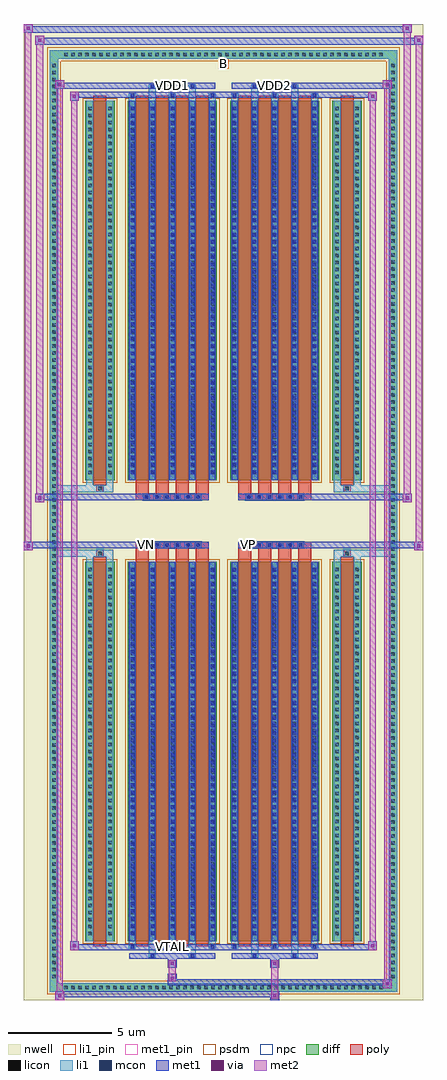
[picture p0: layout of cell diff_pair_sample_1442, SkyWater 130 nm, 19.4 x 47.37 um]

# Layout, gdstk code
import gdstk
lib = gdstk.Library(unit=1e-6, precision=5e-09)
def R(c, l, rs):  # rectangles x0, y0, x1, y1
    for r in rs: c.add(gdstk.rectangle(r[:2], r[2:], *l))
def A(c, l, x, y, w, h, nx, ny, dx, dy):  # array of equal rectangles
    R(c, l, [(x+i*dx, y+j*dy, x+i*dx+w, y+j*dy+h) for i in range(nx) for j in range(ny)])
def P(c, l, *ps):  # polygons
    for p in ps: c.add(gdstk.Polygon(p, *l))
nwell = (64, 20)
diff = (65, 20)
poly = (66, 20)
licon = (66, 44)
li1_pin = (67, 16)
li1 = (67, 20)
mcon = (67, 44)
met1_pin = (68, 16)
met1 = (68, 20)
via = (68, 44)
met2 = (69, 20)
psdm = (94, 20)
npc = (95, 20)

diff_pair_sample_1442 = lib.new_cell('diff_pair_sample_1442')
R(diff_pair_sample_1442, nwell, [(-9.7,-23.25,9.7,24.12), (-7.02,-21.44,-0.01,-0.8), (0.01,-21.44,7.02,-0.8), (-7.02,0.8,-0.01,21.44), (0.01,0.8,7.02,21.44)])
A(diff_pair_sample_1442, diff, -7.855, -22.85, 0.41, 0.41, 46, 2, 0.34, 45.29)
A(diff_pair_sample_1442, diff, -8.43, -22.305, 0.41, 0.41, 1, 131, 0, 0.34)
A(diff_pair_sample_1442, diff, 8.02, -22.305, 0.41, 0.41, 1, 131, 0, 0.34)
R(diff_pair_sample_1442, diff, [(-7.855,-22.85,7.855,-22.44), (-8.43,-22.305,-8.02,22.305), (8.02,-22.305,8.43,22.305), (-6.71,-20.395,-5.29,-1.985), (-4.65,-20.395,-0.32,-1.985), (0.32,-20.395,4.65,-1.985), (5.29,-20.395,6.71,-1.985), (-6.71,1.985,-5.29,20.395), (-4.65,1.985,-0.32,20.395), (0.32,1.985,4.65,20.395), (5.29,1.985,6.71,20.395), (-7.855,22.44,7.855,22.85)])
P(diff_pair_sample_1442, diff, [(8.43,22.85),(-8.43,22.85),(-8.43,-22.44),(-8.02,-22.44),(-8.02,22.44),(8.02,22.44),(8.02,-22.44),(-8.02,-22.44),(-8.43,-22.44),(-8.43,-22.85),(8.43,-22.85)])
A(diff_pair_sample_1442, poly, -4.26, -20.645, 0.64, 18.91, 4, 2, 0.97, 22.38)
A(diff_pair_sample_1442, poly, 0.71, -20.645, 0.64, 18.91, 4, 2, 0.97, 22.38)
A(diff_pair_sample_1442, poly, -4.26, -1.735, 0.64, 0.405, 4, 2, 0.97, 3.065)
A(diff_pair_sample_1442, poly, 0.71, -1.735, 0.64, 0.405, 4, 2, 0.97, 3.065)
A(diff_pair_sample_1442, poly, -3.9, -1.33, 0.33, 0.33, 6, 2, 0.5, 2.33)
A(diff_pair_sample_1442, poly, 1.07, -1.33, 0.33, 0.33, 6, 2, 0.5, 2.33)
R(diff_pair_sample_1442, poly, [(-6.32,-20.645,-5.68,-1.735), (5.68,-20.645,6.32,-1.735), (-6.165,-1.735,-5.835,-1.405), (-6.165,-1.735,-5.835,-1.405), (5.835,-1.735,6.165,-1.405), (5.835,-1.735,6.165,-1.405), (-4.26,-1.33,-0.71,-1), (0.71,-1.33,4.26,-1), (-4.26,1,-0.71,1.33), (0.71,1,4.26,1.33), (-6.165,1.405,-5.835,1.735), (-6.165,1.405,-5.835,1.735), (5.835,1.405,6.165,1.735), (5.835,1.405,6.165,1.735), (-6.32,1.735,-5.68,20.645), (5.68,1.735,6.32,20.645)])
A(diff_pair_sample_1442, licon, -7.735, -22.73, 0.17, 0.17, 46, 2, 0.34, 45.29)
A(diff_pair_sample_1442, licon, -8.31, -22.185, 0.17, 0.17, 1, 131, 0, 0.34)
A(diff_pair_sample_1442, licon, 8.14, -22.185, 0.17, 0.17, 1, 131, 0, 0.34)
A(diff_pair_sample_1442, licon, -6.57, -20.115, 0.17, 0.17, 1, 53, 0, 0.34)
A(diff_pair_sample_1442, licon, -5.6, -20.115, 0.17, 0.17, 1, 53, 0, 0.34)
A(diff_pair_sample_1442, licon, -4.51, -20.115, 0.17, 0.17, 5, 53, 0.97, 0.34)
A(diff_pair_sample_1442, licon, 0.46, -20.115, 0.17, 0.17, 5, 53, 0.97, 0.34)
A(diff_pair_sample_1442, licon, 5.43, -20.115, 0.17, 0.17, 1, 53, 0, 0.34)
A(diff_pair_sample_1442, licon, 6.4, -20.115, 0.17, 0.17, 1, 53, 0, 0.34)
A(diff_pair_sample_1442, licon, -3.82, -1.25, 0.17, 0.17, 6, 2, 0.5, 2.33)
A(diff_pair_sample_1442, licon, 1.15, -1.25, 0.17, 0.17, 6, 2, 0.5, 2.33)
A(diff_pair_sample_1442, licon, -6.57, 2.265, 0.17, 0.17, 1, 53, 0, 0.34)
A(diff_pair_sample_1442, licon, -5.6, 2.265, 0.17, 0.17, 1, 53, 0, 0.34)
A(diff_pair_sample_1442, licon, -4.51, 2.265, 0.17, 0.17, 5, 53, 0.97, 0.34)
A(diff_pair_sample_1442, licon, 0.46, 2.265, 0.17, 0.17, 5, 53, 0.97, 0.34)
A(diff_pair_sample_1442, licon, 5.43, 2.265, 0.17, 0.17, 1, 53, 0, 0.34)
A(diff_pair_sample_1442, licon, 6.4, 2.265, 0.17, 0.17, 1, 53, 0, 0.34)
R(diff_pair_sample_1442, licon, [(-6.085,-1.655,-5.915,-1.485), (5.915,-1.655,6.085,-1.485), (-6.085,1.485,-5.915,1.655), (5.915,1.485,6.085,1.655)])
R(diff_pair_sample_1442, li1_pin, [(-0.25,21.94,0.25,22.44)])
A(diff_pair_sample_1442, li1, -7.815, -22.81, 0.33, 0.33, 46, 2, 0.34, 45.29)
A(diff_pair_sample_1442, li1, -8.39, -22.265, 0.33, 0.33, 1, 131, 0, 0.34)
A(diff_pair_sample_1442, li1, 8.06, -22.265, 0.33, 0.33, 1, 131, 0, 0.34)
A(diff_pair_sample_1442, li1, -4.59, -20.77, 0.33, 0.375, 3, 2, 1.94, 41.165)
A(diff_pair_sample_1442, li1, -4.51, -20.77, 0.17, 0.17, 3, 2, 1.94, 41.37)
A(diff_pair_sample_1442, li1, 0.38, -20.77, 0.33, 0.375, 3, 2, 1.94, 41.165)
A(diff_pair_sample_1442, li1, 0.46, -20.77, 0.17, 0.17, 3, 2, 1.94, 41.37)
A(diff_pair_sample_1442, li1, -4.59, -20.395, 0.33, 18.41, 5, 2, 0.97, 22.38)
A(diff_pair_sample_1442, li1, 0.38, -20.395, 0.33, 18.41, 5, 2, 0.97, 22.38)
A(diff_pair_sample_1442, li1, -6.65, -20.195, 0.33, 0.33, 1, 53, 0, 0.34)
A(diff_pair_sample_1442, li1, -5.68, -20.195, 0.33, 0.33, 1, 53, 0, 0.34)
A(diff_pair_sample_1442, li1, -4.59, -20.195, 0.33, 0.33, 5, 53, 0.97, 0.34)
A(diff_pair_sample_1442, li1, 0.38, -20.195, 0.33, 0.33, 5, 53, 0.97, 0.34)
A(diff_pair_sample_1442, li1, 5.35, -20.195, 0.33, 0.33, 1, 53, 0, 0.34)
A(diff_pair_sample_1442, li1, 6.32, -20.195, 0.33, 0.33, 1, 53, 0, 0.34)
A(diff_pair_sample_1442, li1, -4.51, -20.095, 0.17, 0.17, 5, 50, 0.97, 0.36)
A(diff_pair_sample_1442, li1, -4.51, -20.095, 0.17, 17.81, 5, 2, 0.97, 22.38)
A(diff_pair_sample_1442, li1, 0.46, -20.095, 0.17, 0.17, 5, 50, 0.97, 0.36)
A(diff_pair_sample_1442, li1, 0.46, -20.095, 0.17, 17.81, 5, 2, 0.97, 22.38)
A(diff_pair_sample_1442, li1, -3.9, -1.33, 0.33, 0.33, 6, 2, 0.5, 2.33)
A(diff_pair_sample_1442, li1, 1.07, -1.33, 0.33, 0.33, 6, 2, 0.5, 2.33)
A(diff_pair_sample_1442, li1, -6.65, 2.185, 0.33, 0.33, 1, 53, 0, 0.34)
A(diff_pair_sample_1442, li1, -5.68, 2.185, 0.33, 0.33, 1, 53, 0, 0.34)
A(diff_pair_sample_1442, li1, -4.59, 2.185, 0.33, 0.33, 5, 53, 0.97, 0.34)
A(diff_pair_sample_1442, li1, 0.38, 2.185, 0.33, 0.33, 5, 53, 0.97, 0.34)
A(diff_pair_sample_1442, li1, 5.35, 2.185, 0.33, 0.33, 1, 53, 0, 0.34)
A(diff_pair_sample_1442, li1, 6.32, 2.185, 0.33, 0.33, 1, 53, 0, 0.34)
A(diff_pair_sample_1442, li1, -4.51, 2.285, 0.17, 0.17, 5, 50, 0.97, 0.36)
A(diff_pair_sample_1442, li1, 0.46, 2.285, 0.17, 0.17, 5, 50, 0.97, 0.36)
R(diff_pair_sample_1442, li1, [(-8.43,-22.85,-8.02,-22.44), (-8.43,-22.85,-8.02,-22.44), (-8.02,-22.85,8.02,-22.44), (8.02,-22.85,8.43,-22.44), (8.02,-22.85,8.43,-22.44), (-8.43,-22.44,-8.02,22.44), (8.02,-22.44,8.43,22.44), (-3.62,-21.2,-3.29,-20.395), (-3.54,-21.2,-3.37,-21.03), (-1.68,-21.2,-1.35,-20.395), (-1.6,-21.2,-1.43,-21.03), (1.35,-21.2,1.68,-20.395), (1.43,-21.2,1.6,-21.03), (3.29,-21.2,3.62,-20.395), (3.37,-21.2,3.54,-21.03), (-6.65,-20.395,-6.32,-1.985), (-5.68,-20.395,-5.35,-1.985), (5.35,-20.395,5.68,-1.985), (6.32,-20.395,6.65,-1.985), (-6.65,-1.985,-6.32,-1.405), (-5.68,-1.985,-5.35,-1.405), (5.35,-1.985,5.68,-1.405), (6.32,-1.985,6.65,-1.405), (-8.43,-1.735,-6.165,-1.405), (-6.65,-1.735,-6.165,-1.405), (-6.165,-1.735,-5.835,-1.405), (-5.835,-1.735,-5.35,-1.405), (5.35,-1.735,5.835,-1.405), (5.835,-1.735,6.165,-1.405), (5.835,-1.735,8.43,-1.405), (6.165,-1.735,6.65,-1.405), (-8.43,1.405,-6.165,1.735), (-6.65,1.405,-6.165,1.735), (-6.65,1.405,-6.32,1.985), (-6.165,1.405,-5.835,1.735), (-5.835,1.405,-5.35,1.735), (-5.68,1.405,-5.35,1.985), (5.35,1.405,5.835,1.735), (5.35,1.405,5.68,1.985), (5.835,1.405,6.165,1.735), (5.835,1.405,8.43,1.735), (6.165,1.405,6.65,1.735), (6.32,1.405,6.65,1.985), (-6.65,1.985,-6.32,20.395), (-5.68,1.985,-5.35,20.395), (5.35,1.985,5.68,20.395), (6.32,1.985,6.65,20.395), (-3.62,20.395,-3.29,21.2), (-1.68,20.395,-1.35,21.2), (1.35,20.395,1.68,21.2), (3.29,20.395,3.62,21.2), (-3.54,21.03,-3.37,21.2), (-1.6,21.03,-1.43,21.2), (1.43,21.03,1.6,21.2), (3.37,21.03,3.54,21.2), (-8.43,22.44,-8.02,22.85), (-8.43,22.44,-8.02,22.85), (-8.02,22.44,8.02,22.85), (8.02,22.44,8.43,22.85), (8.02,22.44,8.43,22.85)])
A(diff_pair_sample_1442, mcon, -4.51, -20.77, 0.17, 0.17, 3, 2, 1.94, 41.37)
A(diff_pair_sample_1442, mcon, 0.46, -20.77, 0.17, 0.17, 3, 2, 1.94, 41.37)
A(diff_pair_sample_1442, mcon, -4.51, -20.095, 0.17, 0.17, 5, 50, 0.97, 0.36)
A(diff_pair_sample_1442, mcon, 0.46, -20.095, 0.17, 0.17, 5, 50, 0.97, 0.36)
A(diff_pair_sample_1442, mcon, -3.82, -1.25, 0.17, 0.17, 6, 2, 0.5, 2.33)
A(diff_pair_sample_1442, mcon, 1.15, -1.25, 0.17, 0.17, 6, 2, 0.5, 2.33)
A(diff_pair_sample_1442, mcon, -4.51, 2.285, 0.17, 0.17, 5, 50, 0.97, 0.36)
A(diff_pair_sample_1442, mcon, 0.46, 2.285, 0.17, 0.17, 5, 50, 0.97, 0.36)
R(diff_pair_sample_1442, mcon, [(-3.54,-21.2,-3.37,-21.03), (-1.6,-21.2,-1.43,-21.03), (1.43,-21.2,1.6,-21.03), (3.37,-21.2,3.54,-21.03), (-3.54,21.03,-3.37,21.2), (-1.6,21.03,-1.43,21.2), (1.43,21.03,1.6,21.2), (3.37,21.03,3.54,21.2)])
R(diff_pair_sample_1442, met1_pin, [(-2.62,-20.81,-2.35,-20.54), (-3.87,-1.29,-3.6,-1.02), (1.1,-1.29,1.37,-1.02), (-2.62,20.99,-2.35,21.26), (2.35,20.99,2.62,21.26)])
A(diff_pair_sample_1442, met1, -4.57, -20.83, 0.29, 0.29, 3, 2, 1.94, 41.37)
A(diff_pair_sample_1442, met1, 0.4, -20.83, 0.29, 0.29, 3, 2, 1.94, 41.37)
A(diff_pair_sample_1442, met1, -4.57, -20.395, 0.29, 18.41, 5, 2, 0.97, 22.38)
A(diff_pair_sample_1442, met1, 0.4, -20.395, 0.29, 18.41, 5, 2, 0.97, 22.38)
A(diff_pair_sample_1442, met1, -4.57, -20.155, 0.29, 0.29, 5, 50, 0.97, 0.36)
A(diff_pair_sample_1442, met1, 0.4, -20.155, 0.29, 0.29, 5, 50, 0.97, 0.36)
A(diff_pair_sample_1442, met1, -3.88, -1.31, 0.29, 0.29, 6, 2, 0.5, 2.33)
A(diff_pair_sample_1442, met1, 1.09, -1.31, 0.29, 0.29, 6, 2, 0.5, 2.33)
A(diff_pair_sample_1442, met1, -4.57, 2.225, 0.29, 0.29, 5, 50, 0.97, 0.36)
A(diff_pair_sample_1442, met1, 0.4, 2.225, 0.29, 0.29, 5, 50, 0.97, 0.36)
R(diff_pair_sample_1442, met1, [(-8.16,-23.25,-7.73,-22.82), (2.27,-23.25,2.7,-22.82), (-8.16,-23.11,2.7,-22.82), (7.73,-22.68,8.16,-22.25), (-2.7,-22.54,8.16,-22.25), (-2.7,-22.4,-2.27,-21.97), (-2.7,-21.69,-2.27,-21.26), (2.27,-21.69,2.7,-21.26), (-4.57,-21.26,-0.4,-20.97), (-3.6,-21.26,-3.31,-20.97), (-1.66,-21.26,-1.37,-20.97), (0.4,-21.26,4.57,-20.97), (1.37,-21.26,1.66,-20.97), (3.31,-21.26,3.6,-20.97), (-7.45,-20.83,-7.02,-20.4), (-7.45,-20.83,-4.57,-20.54), (-4.57,-20.83,-0.4,-20.54), (-0.4,-20.83,0.4,-20.54), (0.4,-20.83,4.57,-20.54), (4.57,-20.83,7.45,-20.54), (7.02,-20.83,7.45,-20.4), (-9.7,-1.43,-9.27,-1), (9.27,-1.43,9.7,-1), (-9.7,-1.33,-0.71,-1), (-4.26,-1.33,-0.71,-1), (0.71,-1.33,4.26,-1), (0.71,-1.33,9.7,-1), (-9.13,0.9,-8.7,1.33), (8.7,0.9,9.13,1.33), (-9.13,1,-4.26,1.33), (-4.26,1,-0.71,1.33), (0.71,1,4.26,1.33), (4.26,1,9.13,1.33), (-7.45,20.4,-7.02,20.83), (7.02,20.4,7.45,20.83), (-7.45,20.54,-4.57,20.83), (-4.57,20.54,-0.4,20.83), (-0.4,20.54,0.4,20.83), (0.4,20.54,4.57,20.83), (4.57,20.54,7.45,20.83), (-8.16,20.97,-7.73,21.4), (-8.16,20.97,-4.57,21.26), (-4.57,20.97,-0.4,21.26), (-3.6,20.97,-3.31,21.26), (-1.66,20.97,-1.37,21.26), (0.4,20.97,4.57,21.26), (1.37,20.97,1.66,21.26), (3.31,20.97,3.6,21.26), (4.57,20.97,8.16,21.26), (7.73,20.97,8.16,21.4), (-9.13,23.12,-8.7,23.55), (-9.13,23.12,-7.02,23.45), (-7.02,23.12,7.02,23.45), (7.02,23.12,9.7,23.45), (9.27,23.12,9.7,23.55), (-9.7,23.69,-9.27,24.12), (-9.7,23.69,-7.02,24.02), (-7.02,23.69,7.02,24.02), (7.02,23.69,9.13,24.02), (8.7,23.69,9.13,24.12)])
R(diff_pair_sample_1442, via, [(-8.02,-23.11,-7.87,-22.96), (2.41,-23.11,2.56,-22.96), (7.87,-22.54,8.02,-22.39), (-2.56,-22.26,-2.41,-22.11), (-2.56,-21.55,-2.41,-21.4), (2.41,-21.55,2.56,-21.4), (-7.31,-20.69,-7.16,-20.54), (7.16,-20.69,7.31,-20.54), (-9.56,-1.29,-9.41,-1.14), (9.41,-1.29,9.56,-1.14), (-8.99,1.04,-8.84,1.19), (8.84,1.04,8.99,1.19), (-7.31,20.54,-7.16,20.69), (7.16,20.54,7.31,20.69), (-8.02,21.11,-7.87,21.26), (7.87,21.11,8.02,21.26), (-8.99,23.26,-8.84,23.41), (9.41,23.26,9.56,23.41), (-9.56,23.83,-9.41,23.98), (8.84,23.83,8.99,23.98)])
R(diff_pair_sample_1442, met2, [(-8.16,-23.25,-7.73,-22.82), (-8.09,-23.25,-7.8,21.4), (-7.8,-23.25,-7.73,-22.82), (-8.11,-23.2,-7.78,-22.87), (2.32,-23.2,2.65,-22.87), (2.32,-22.87,2.65,-21.64), (7.73,-22.68,8.16,-22.25), (7.8,-22.68,8.09,21.4), (8.09,-22.68,8.16,-22.25), (7.78,-22.63,8.11,-22.3), (-2.65,-22.35,-2.32,-22.02), (-2.65,-22.02,-2.32,-21.64), (-2.65,-21.64,-2.32,-21.31), (2.32,-21.64,2.65,-21.31), (-7.45,-20.83,-7.02,-20.4), (-7.38,-20.83,-7.09,20.83), (-7.09,-20.83,-7.02,-20.4), (7.02,-20.83,7.45,-20.4), (7.09,-20.83,7.38,20.83), (7.38,-20.83,7.45,-20.4), (-7.4,-20.78,-7.07,-20.45), (7.07,-20.78,7.4,-20.45), (-9.7,-1.43,-9.27,-1), (-9.65,-1.43,-9.32,24.12), (-9.32,-1.43,-9.27,-1), (9.27,-1.43,9.7,-1), (9.32,-1.43,9.65,23.55), (9.65,-1.43,9.7,-1), (-9.65,-1.38,-9.32,-1.05), (9.32,-1.38,9.65,-1.05), (-9.13,0.9,-8.7,1.33), (-9.08,0.9,-8.75,23.55), (-8.75,0.9,-8.7,1.33), (8.7,0.9,9.13,1.33), (8.75,0.9,9.08,24.12), (9.08,0.9,9.13,1.33), (-9.08,0.95,-8.75,1.28), (8.75,0.95,9.08,1.28), (-7.45,20.4,-7.02,20.83), (-7.09,20.4,-7.02,20.83), (7.02,20.4,7.45,20.83), (7.38,20.4,7.45,20.83), (-7.4,20.45,-7.07,20.78), (7.07,20.45,7.4,20.78), (-8.16,20.97,-7.73,21.4), (-7.8,20.97,-7.73,21.4), (7.73,20.97,8.16,21.4), (8.09,20.97,8.16,21.4), (-8.11,21.02,-7.78,21.35), (7.78,21.02,8.11,21.35), (-9.13,23.12,-8.7,23.55), (-8.75,23.12,-8.7,23.55), (9.27,23.12,9.7,23.55), (9.65,23.12,9.7,23.55), (-9.08,23.17,-8.75,23.5), (9.32,23.17,9.65,23.5), (-9.7,23.69,-9.27,24.12), (-9.32,23.69,-9.27,24.12), (8.7,23.69,9.13,24.12), (9.08,23.69,9.13,24.12), (-9.65,23.74,-9.32,24.07), (8.75,23.74,9.08,24.07)])
R(diff_pair_sample_1442, psdm, [(-6.84,-20.525,-5.16,-1.855), (-4.78,-20.525,-0.19,-1.855), (0.19,-20.525,4.78,-1.855), (5.16,-20.525,6.84,-1.855), (-6.84,1.855,-5.16,20.525), (-4.78,1.855,-0.19,20.525), (0.19,1.855,4.78,20.525), (5.16,1.855,6.84,20.525)])
P(diff_pair_sample_1442, psdm, [(8.56,22.98),(-8.56,22.98),(-8.56,-22.31),(-7.89,-22.31),(-7.89,22.31),(7.89,22.31),(7.89,-22.31),(-7.89,-22.31),(-8.56,-22.31),(-8.56,-22.98),(8.56,-22.98)])
A(diff_pair_sample_1442, npc, -3.92, -1.35, 0.37, 0.37, 6, 2, 0.5, 2.33)
A(diff_pair_sample_1442, npc, 1.05, -1.35, 0.37, 0.37, 6, 2, 0.5, 2.33)
R(diff_pair_sample_1442, npc, [(-6.185,-1.755,-5.815,-1.385), (5.815,-1.755,6.185,-1.385), (-3.92,-1.35,-3.05,-0.98), (-3.92,-1.35,-3.05,-0.98), (-3.42,-1.35,-2.55,-0.98), (-3.42,-1.35,-2.55,-0.98), (-2.92,-1.35,-2.05,-0.98), (-2.92,-1.35,-2.05,-0.98), (-2.42,-1.35,-1.55,-0.98), (-2.42,-1.35,-1.55,-0.98), (-1.92,-1.35,-1.05,-0.98), (-1.92,-1.35,-1.05,-0.98), (1.05,-1.35,1.92,-0.98), (1.05,-1.35,1.92,-0.98), (1.55,-1.35,2.42,-0.98), (1.55,-1.35,2.42,-0.98), (2.05,-1.35,2.92,-0.98), (2.05,-1.35,2.92,-0.98), (2.55,-1.35,3.42,-0.98), (2.55,-1.35,3.42,-0.98), (3.05,-1.35,3.92,-0.98), (3.05,-1.35,3.92,-0.98), (-3.92,0.98,-3.05,1.35), (-3.92,0.98,-3.05,1.35), (-3.42,0.98,-2.55,1.35), (-3.42,0.98,-2.55,1.35), (-2.92,0.98,-2.05,1.35), (-2.92,0.98,-2.05,1.35), (-2.42,0.98,-1.55,1.35), (-2.42,0.98,-1.55,1.35), (-1.92,0.98,-1.05,1.35), (-1.92,0.98,-1.05,1.35), (1.05,0.98,1.92,1.35), (1.05,0.98,1.92,1.35), (1.55,0.98,2.42,1.35), (1.55,0.98,2.42,1.35), (2.05,0.98,2.92,1.35), (2.05,0.98,2.92,1.35), (2.55,0.98,3.42,1.35), (2.55,0.98,3.42,1.35), (3.05,0.98,3.92,1.35), (3.05,0.98,3.92,1.35), (-6.185,1.385,-5.815,1.755), (5.815,1.385,6.185,1.755)])
diff_pair_sample_1442.add(gdstk.Label('VTAIL', (-2.485,-20.675), layer=68, texttype=5))
diff_pair_sample_1442.add(gdstk.Label('VN', (-3.735,-1.155), layer=68, texttype=5))
diff_pair_sample_1442.add(gdstk.Label('VP', (1.235,-1.155), layer=68, texttype=5))
diff_pair_sample_1442.add(gdstk.Label('B', (0,22.19), layer=67, texttype=5))
diff_pair_sample_1442.add(gdstk.Label('VDD2', (2.485,21.125), layer=68, texttype=5))
diff_pair_sample_1442.add(gdstk.Label('VDD1', (-2.485,21.125), layer=68, texttype=5))

lib.write_gds('diff_pair_sample_1442.gds')
